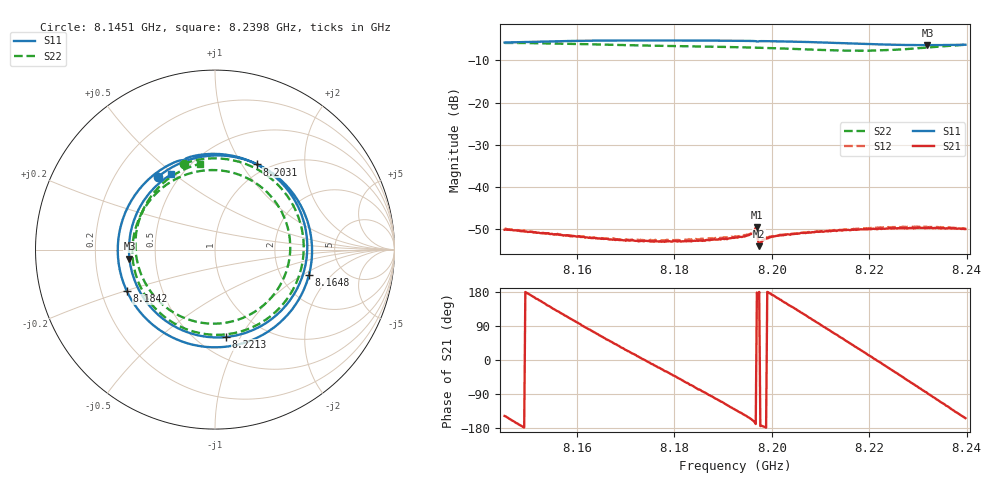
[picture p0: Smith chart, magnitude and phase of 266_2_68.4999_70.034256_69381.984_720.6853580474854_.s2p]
#  HZ  S  RI  R  50.00
! Rohde & Schwarz Vector Network Analyzer
! Rohde-Schwarz,ZNB20-2Port,1311601062101988,3.16
! Created: UTC 3/20/2024, 5:00:33 PM
! freq[Hz]  re:S11  im:S11  re:S21  im:S21  re:S12  im:S12  re:S22  im:S22
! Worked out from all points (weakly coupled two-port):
!   401 points, 8.1451 GHz to 8.2398 GHz, reference 50 ohm
!   highest |S21| = -49.53 dB at 8.1969 GHz (marker M1); lowest = -54.1 dB at 8.1974 GHz (marker M2)
!   lowest |S11| = -6.4 dB at 8.232 GHz (marker M3), VSWR 2.84, Z = 17.7 - j2.33 ohm
!   |S11| at or under -10 dB: nowhere
!   |S22| runs from -7.7 to -5.9 dB; largest |S21 - S12| = 0.00024
!   S11 on the Smith chart (normalised r, x): 8.1451 GHz: 0.39, +0.42; 8.1648 GHz: 2.87, -1.13; 8.1842 GHz: 0.31, -0.20; 8.2031 GHz: 0.89, +1.17; 8.2213 GHz: 0.68, -0.87; 8.2398 GHz: 0.44, +0.49
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8.145135e9  -0.3185 0.4041  -0.00262 -0.00165  -0.00271 -0.00165  -0.1742 0.4782
8.149157e9  -0.0714 0.5177  -0.00296 -9.03e-05  -0.00303 -1.39e-05  0.0843 0.5007
8.152706e9  0.1663 0.502  -0.00254 0.00122  -0.00254 0.00128  0.2909 0.4124
8.156964e9  0.405 0.3496  -0.00142 0.00227  -0.00138 0.00233  0.4544 0.2069
8.160986e9  0.5277 0.1123  -5.56e-05 0.00255  -9.39e-05 0.00254  0.4924 -0.0334
8.164771e9  0.524 -0.1396  0.00106 0.00219  0.00106 0.00224  0.4207 -0.2463
8.171396e9  0.2544 -0.4812  0.00222 0.000678  0.00224 0.000716  0.113 -0.4641
8.176837e9  -0.1064 -0.5337  0.00209 -0.00077  0.00217 -0.000837  -0.1905 -0.4301
8.184171e9  -0.491 -0.2316  0.000722 -0.00218  0.000692 -0.00224  -0.4455 -0.1243
8.188193e9  -0.54 0.0414  -0.000406 -0.00234  -0.000465 -0.00238  -0.4481 0.0974
8.192452e9  -0.4365 0.3172  -0.00164 -0.00189  -0.00177 -0.00188  -0.3368 0.3036
8.196947e9  -0.1811 0.4979  -0.00334 0.000117  -0.00343 0.000249  -0.1223 0.4295
8.19742e9  -0.1582 0.5094  -0.00198 8.49e-06  -0.00198 8.33e-05  -0.0966 0.4353
8.203098e9  0.2339 0.4746  -0.00233 0.00143  -0.00227 0.00152  0.2151 0.3784
8.208303e9  0.4774 0.2066  -0.000827 0.00278  -0.000787 0.0028  0.3994 0.1423
8.214218e9  0.4639 -0.2049  0.00157 0.00261  0.00161 0.00263  0.3578 -0.2069
8.221316e9  0.062 -0.487  0.00317 7.87e-05  0.00327 -4.58e-05  -0.0298 -0.4122
8.224155e9  -0.1412 -0.4647  0.003 -0.00123  0.00302 -0.00139  -0.2132 -0.3607
8.228177e9  -0.3757 -0.2999  0.00182 -0.00267  0.00173 -0.00287  -0.4008 -0.1621
8.231962e9  -0.4764 -0.0508  0.000135 -0.00324  -5.91e-05 -0.00333  -0.4384 0.097
8.235511e9  -0.4384 0.1965  -0.00147 -0.00287  -0.00171 -0.00282  -0.3362 0.3224
8.239769e9  -0.2444 0.4187  -0.00283 -0.00141  -0.00294 -0.00123  -0.0846 0.4767
